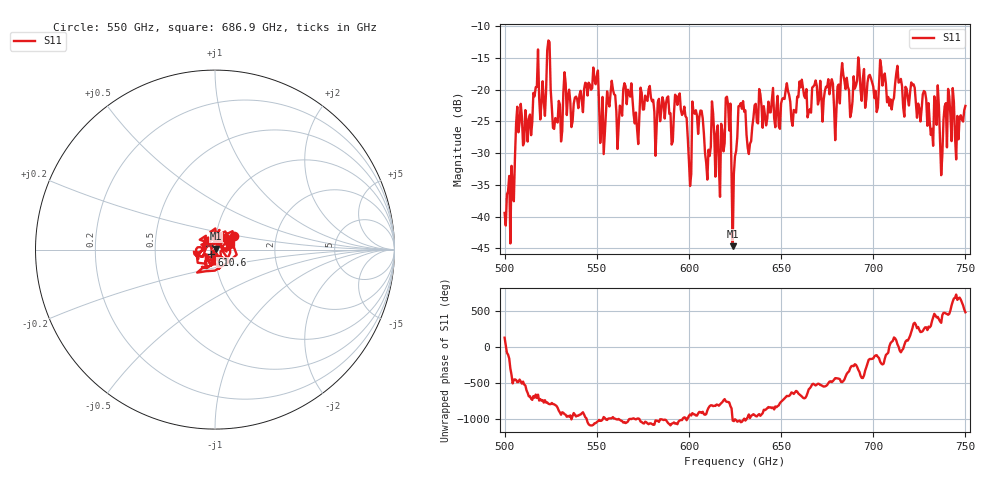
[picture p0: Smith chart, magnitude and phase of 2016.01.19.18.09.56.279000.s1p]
!Created with skrf (http://scikit-rf.org).
# GHz S RI R 50.0
!freq ReS11 ImS11
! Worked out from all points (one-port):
!   401 points, 500 GHz to 750 GHz, reference 50 ohm
!   lowest |S11| = -44.7 dB at 623.8 GHz (marker M1), VSWR 1.01, Z = 50.3 + j0.493 ohm
!   |S11| at or under -10 dB: start of sweep to end of sweep
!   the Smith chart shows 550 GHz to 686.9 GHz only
!   S11 on the Smith chart (normalised r, x): 550 GHz: 1.22, +0.18; 610.6 GHz: 0.96, -0.05; 686.9 GHz: 1.20, +0.09
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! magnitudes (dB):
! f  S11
! 500 GHz  -39.4
! 504.4 GHz  -35.5
! 507.5 GHz  -26.7
! 513.8 GHz  -23.9
! 516.9 GHz  -19.6
! 520.6 GHz  -18.7
! 523.8 GHz  -12.2
! 526.9 GHz  -26.2
! 531.2 GHz  -26.5
! 550 GHz  -17.9
! 553.1 GHz  -21.1
! 558.8 GHz  -19.9
! 562.5 GHz  -22.5
! 593.8 GHz  -22.4
! 600 GHz  -31.2
! 603.1 GHz  -23.8
! 610.6 GHz  -29.5
! 621.2 GHz  -22.3
! 623.8 GHz  -44.7
! 625 GHz  -30.5
! 628.1 GHz  -22.1
! 632.5 GHz  -30.1
! 656.2 GHz  -25.7
! 686.9 GHz  -20.1
! 687.5 GHz  -24.3
! 718.8 GHz  -21.4
! 736.9 GHz  -33.5
! 750 GHz  -22.5
